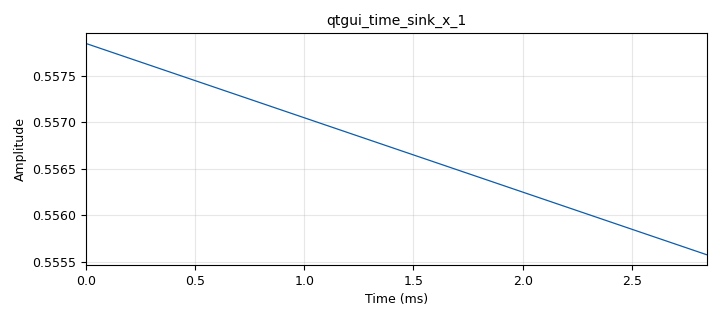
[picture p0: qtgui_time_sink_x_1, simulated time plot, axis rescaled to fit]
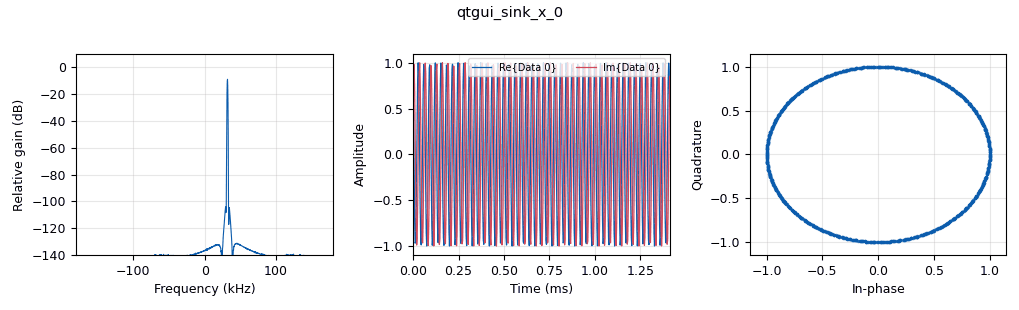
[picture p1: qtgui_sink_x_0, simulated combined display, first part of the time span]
<?xml version='1.0' encoding='utf-8'?>
<?grc format='1' created='3.7.7'?>
<flow_graph>
<block>
<key>options</key>
<param><key>id</key><value>top_block</value></param>
<param><key>generate_options</key><value>qt_gui</value></param>
<param><key>category</key><value>Custom</value></param>
</block>
<block>
<key>variable</key>
<param><key>id</key><value>samp_rate</value></param>
<param><key>value</key><value>360e3</value></param>
</block>
<block>
<key>blocks_throttle</key>
<param><key>id</key><value>blocks_throttle_0</value></param>
<param><key>type</key><value>float</value></param>
<param><key>samples_per_second</key><value>samp_rate</value></param>
</block>
<block>
<key>qtgui_time_sink_x</key>
<param><key>id</key><value>qtgui_time_sink_x_1</value></param>
<param><key>type</key><value>float</value></param>
<param><key>size</key><value>1024</value></param>
<param><key>srate</key><value>samp_rate</value></param>
<param><key>label1</key><value></value></param>
<param><key>color1</key><value>"blue"</value></param>
</block>
<block>
<key>analog_sig_source_x</key>
<param><key>id</key><value>analog_sig_source_x_0</value></param>
<param><key>type</key><value>float</value></param>
<param><key>samp_rate</key><value>samp_rate</value></param>
<param><key>waveform</key><value>analog.GR_TRI_WAVE</value></param>
<param><key>freq</key><value>.2</value></param>
<param><key>amp</key><value>2</value></param>
<param><key>offset</key><value>-1</value></param>
</block>
<block>
<key>variable_qtgui_entry</key>
<param><key>id</key><value>sensitivity</value></param>
<param><key>type</key><value>real</value></param>
<param><key>value</key><value>1</value></param>
</block>
<block>
<key>qtgui_time_sink_x</key>
<param><key>id</key><value>qtgui_time_sink_x_0</value></param>
<param><key>_enabled</key><value>False</value></param>
<param><key>type</key><value>complex</value></param>
<param><key>size</key><value>1024</value></param>
<param><key>srate</key><value>samp_rate</value></param>
<param><key>nconnections</key><value>2</value></param>
<param><key>tr_mode</key><value>qtgui.TRIG_MODE_AUTO</value></param>
<param><key>label1</key><value></value></param>
<param><key>color1</key><value>"blue"</value></param>
<param><key>label2</key><value></value></param>
<param><key>color2</key><value>"red"</value></param>
<param><key>label3</key><value></value></param>
<param><key>color3</key><value>"green"</value></param>
<param><key>label4</key><value></value></param>
<param><key>color4</key><value>"black"</value></param>
</block>
<block>
<key>analog_sig_source_x</key>
<param><key>id</key><value>analog_sig_source_x_1</value></param>
<param><key>_enabled</key><value>False</value></param>
<param><key>type</key><value>complex</value></param>
<param><key>samp_rate</key><value>samp_rate</value></param>
<param><key>waveform</key><value>analog.GR_COS_WAVE</value></param>
<param><key>freq</key><value>1000</value></param>
<param><key>amp</key><value>1</value></param>
<param><key>offset</key><value>0</value></param>
</block>
<block>
<key>analog_phase_modulator_fc</key>
<param><key>id</key><value>analog_phase_modulator_fc_0</value></param>
<param><key>_enabled</key><value>False</value></param>
<param><key>sensitivity</key><value>sensitivity</value></param>
</block>
<block>
<key>blocks_multiply_xx</key>
<param><key>id</key><value>blocks_multiply_xx_0</value></param>
<param><key>_enabled</key><value>False</value></param>
<param><key>type</key><value>complex</value></param>
</block>
<block>
<key>analog_frequency_modulator_fc</key>
<param><key>id</key><value>analog_frequency_modulator_fc_0</value></param>
<param><key>sensitivity</key><value>sensitivity</value></param>
</block>
<block>
<key>qtgui_sink_x</key>
<param><key>id</key><value>qtgui_sink_x_0</value></param>
<param><key>type</key><value>complex</value></param>
<param><key>fftsize</key><value>1024</value></param>
<param><key>wintype</key><value>firdes.WIN_BLACKMAN_hARRIS</value></param>
<param><key>fc</key><value>0</value></param>
<param><key>bw</key><value>samp_rate</value></param>
<param><key>freqchangevar</key><value>None</value></param>
<param><key>showports</key><value>True</value></param>
</block>
<connection><source_block_id>analog_sig_source_x_0</source_block_id><sink_block_id>blocks_throttle_0</sink_block_id><source_key>0</source_key><sink_key>0</sink_key></connection>
<connection><source_block_id>blocks_throttle_0</source_block_id><sink_block_id>analog_frequency_modulator_fc_0</sink_block_id><source_key>0</source_key><sink_key>0</sink_key></connection>
<connection><source_block_id>analog_frequency_modulator_fc_0</source_block_id><sink_block_id>qtgui_sink_x_0</sink_block_id><source_key>0</source_key><sink_key>0</sink_key></connection>
<connection><source_block_id>blocks_throttle_0</source_block_id><sink_block_id>qtgui_time_sink_x_1</sink_block_id><source_key>0</source_key><sink_key>0</sink_key></connection>
<connection><source_block_id>blocks_throttle_0</source_block_id><sink_block_id>analog_phase_modulator_fc_0</sink_block_id><source_key>0</source_key><sink_key>0</sink_key></connection>
<connection><source_block_id>analog_sig_source_x_1</source_block_id><sink_block_id>blocks_multiply_xx_0</sink_block_id><source_key>0</source_key><sink_key>0</sink_key></connection>
<connection><source_block_id>analog_phase_modulator_fc_0</source_block_id><sink_block_id>blocks_multiply_xx_0</sink_block_id><source_key>0</source_key><sink_key>1</sink_key></connection>
<connection><source_block_id>analog_sig_source_x_1</source_block_id><sink_block_id>qtgui_time_sink_x_0</sink_block_id><source_key>0</source_key><sink_key>0</sink_key></connection>
<connection><source_block_id>blocks_multiply_xx_0</source_block_id><sink_block_id>qtgui_time_sink_x_0</sink_block_id><source_key>0</source_key><sink_key>1</sink_key></connection>
</flow_graph>
